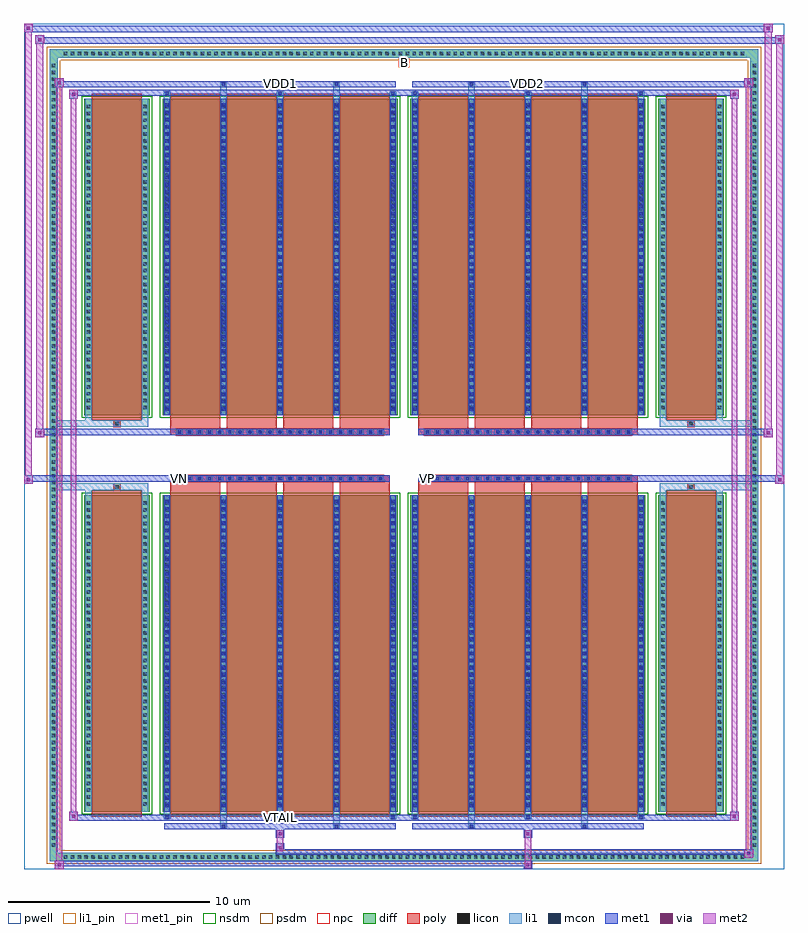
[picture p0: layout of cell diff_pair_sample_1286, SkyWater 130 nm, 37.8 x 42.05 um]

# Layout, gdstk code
import gdstk
lib = gdstk.Library(unit=1e-6, precision=5e-09)
def R(c, l, rs):  # rectangles x0, y0, x1, y1
    for r in rs: c.add(gdstk.rectangle(r[:2], r[2:], *l))
def A(c, l, x, y, w, h, nx, ny, dx, dy):  # array of equal rectangles
    R(c, l, [(x+i*dx, y+j*dy, x+i*dx+w, y+j*dy+h) for i in range(nx) for j in range(ny)])
def P(c, l, *ps):  # polygons
    for p in ps: c.add(gdstk.Polygon(p, *l))
pwell = (64, 44)
diff = (65, 20)
poly = (66, 20)
licon = (66, 44)
li1_pin = (67, 16)
li1 = (67, 20)
mcon = (67, 44)
met1_pin = (68, 16)
met1 = (68, 20)
via = (68, 44)
met2 = (69, 20)
nsdm = (93, 44)
psdm = (94, 20)
npc = (95, 20)

diff_pair_sample_1286 = lib.new_cell('diff_pair_sample_1286')
R(diff_pair_sample_1286, pwell, [(-18.9,-20.59,18.9,21.46), (-16.22,-18.78,-0.01,-0.8), (0.01,-18.78,16.22,-0.8), (-16.22,0.8,-0.01,18.78), (0.01,0.8,16.22,18.78)])
A(diff_pair_sample_1286, diff, -17.035, -20.19, 0.41, 0.41, 100, 2, 0.34, 39.97)
A(diff_pair_sample_1286, diff, -17.63, -19.585, 0.41, 0.41, 1, 115, 0, 0.34)
A(diff_pair_sample_1286, diff, 17.22, -19.585, 0.41, 0.41, 1, 115, 0, 0.34)
R(diff_pair_sample_1286, diff, [(-17.035,-20.19,17.035,-19.78), (-17.63,-19.585,-17.22,19.585), (17.22,-19.585,17.63,19.585), (-15.91,-17.735,-12.65,-1.985), (-12.01,-17.735,-0.32,-1.985), (0.32,-17.735,12.01,-1.985), (12.65,-17.735,15.91,-1.985), (-15.91,1.985,-12.65,17.735), (-12.01,1.985,-0.32,17.735), (0.32,1.985,12.01,17.735), (12.65,1.985,15.91,17.735), (-17.035,19.78,17.035,20.19)])
P(diff_pair_sample_1286, diff, [(17.63,20.19),(-17.63,20.19),(-17.63,-19.78),(-17.22,-19.78),(-17.22,19.78),(17.22,19.78),(17.22,-19.78),(-17.22,-19.78),(-17.63,-19.78),(-17.63,-20.19),(17.63,-20.19)])
A(diff_pair_sample_1286, poly, -11.62, -17.985, 2.48, 16.25, 4, 2, 2.81, 19.72)
A(diff_pair_sample_1286, poly, 0.71, -17.985, 2.48, 16.25, 4, 2, 2.81, 19.72)
A(diff_pair_sample_1286, poly, -11.62, -1.735, 2.48, 0.405, 4, 2, 2.81, 3.065)
A(diff_pair_sample_1286, poly, 0.71, -1.735, 2.48, 0.405, 4, 2, 2.81, 3.065)
A(diff_pair_sample_1286, poly, -11.33, -1.33, 0.33, 0.33, 21, 2, 0.5, 2.33)
A(diff_pair_sample_1286, poly, 1, -1.33, 0.33, 0.33, 21, 2, 0.5, 2.33)
R(diff_pair_sample_1286, poly, [(-15.52,-17.985,-13.04,-1.735), (13.04,-17.985,15.52,-1.735), (-14.445,-1.735,-14.115,-1.405), (-14.445,-1.735,-14.115,-1.405), (14.115,-1.735,14.445,-1.405), (14.115,-1.735,14.445,-1.405), (-11.62,-1.33,-0.71,-1), (0.71,-1.33,11.62,-1), (-11.62,1,-0.71,1.33), (0.71,1,11.62,1.33), (-14.445,1.405,-14.115,1.735), (-14.445,1.405,-14.115,1.735), (14.115,1.405,14.445,1.735), (14.115,1.405,14.445,1.735), (-15.52,1.735,-13.04,17.985), (13.04,1.735,15.52,17.985)])
A(diff_pair_sample_1286, licon, -16.915, -20.07, 0.17, 0.17, 100, 2, 0.34, 39.97)
A(diff_pair_sample_1286, licon, -17.51, -19.465, 0.17, 0.17, 1, 115, 0, 0.34)
A(diff_pair_sample_1286, licon, 17.34, -19.465, 0.17, 0.17, 1, 115, 0, 0.34)
A(diff_pair_sample_1286, licon, -15.77, -17.425, 0.17, 0.17, 1, 45, 0, 0.34)
A(diff_pair_sample_1286, licon, -12.96, -17.425, 0.17, 0.17, 1, 45, 0, 0.34)
A(diff_pair_sample_1286, licon, -11.87, -17.425, 0.17, 0.17, 5, 45, 2.81, 0.34)
A(diff_pair_sample_1286, licon, 0.46, -17.425, 0.17, 0.17, 5, 45, 2.81, 0.34)
A(diff_pair_sample_1286, licon, 12.79, -17.425, 0.17, 0.17, 1, 45, 0, 0.34)
A(diff_pair_sample_1286, licon, 15.6, -17.425, 0.17, 0.17, 1, 45, 0, 0.34)
A(diff_pair_sample_1286, licon, -11.25, -1.25, 0.17, 0.17, 21, 2, 0.5, 2.33)
A(diff_pair_sample_1286, licon, 1.08, -1.25, 0.17, 0.17, 21, 2, 0.5, 2.33)
A(diff_pair_sample_1286, licon, -15.77, 2.295, 0.17, 0.17, 1, 45, 0, 0.34)
A(diff_pair_sample_1286, licon, -12.96, 2.295, 0.17, 0.17, 1, 45, 0, 0.34)
A(diff_pair_sample_1286, licon, -11.87, 2.295, 0.17, 0.17, 5, 45, 2.81, 0.34)
A(diff_pair_sample_1286, licon, 0.46, 2.295, 0.17, 0.17, 5, 45, 2.81, 0.34)
A(diff_pair_sample_1286, licon, 12.79, 2.295, 0.17, 0.17, 1, 45, 0, 0.34)
A(diff_pair_sample_1286, licon, 15.6, 2.295, 0.17, 0.17, 1, 45, 0, 0.34)
R(diff_pair_sample_1286, licon, [(-14.365,-1.655,-14.195,-1.485), (14.195,-1.655,14.365,-1.485), (-14.365,1.485,-14.195,1.655), (14.195,1.485,14.365,1.655)])
R(diff_pair_sample_1286, li1_pin, [(-0.25,19.28,0.25,19.78)])
A(diff_pair_sample_1286, li1, -16.995, -20.15, 0.33, 0.33, 100, 2, 0.34, 39.97)
A(diff_pair_sample_1286, li1, -17.59, -19.545, 0.33, 0.33, 1, 115, 0, 0.34)
A(diff_pair_sample_1286, li1, 17.26, -19.545, 0.33, 0.33, 1, 115, 0, 0.34)
A(diff_pair_sample_1286, li1, -11.95, -18.11, 0.33, 0.375, 3, 2, 5.62, 35.845)
A(diff_pair_sample_1286, li1, -11.87, -18.11, 0.17, 0.17, 3, 2, 5.62, 36.05)
A(diff_pair_sample_1286, li1, 0.38, -18.11, 0.33, 0.375, 3, 2, 5.62, 35.845)
A(diff_pair_sample_1286, li1, 0.46, -18.11, 0.17, 0.17, 3, 2, 5.62, 36.05)
A(diff_pair_sample_1286, li1, -11.95, -17.735, 0.33, 15.75, 5, 2, 2.81, 19.72)
A(diff_pair_sample_1286, li1, 0.38, -17.735, 0.33, 15.75, 5, 2, 2.81, 19.72)
A(diff_pair_sample_1286, li1, -15.85, -17.505, 0.33, 0.33, 1, 45, 0, 0.34)
A(diff_pair_sample_1286, li1, -13.04, -17.505, 0.33, 0.33, 1, 45, 0, 0.34)
A(diff_pair_sample_1286, li1, -11.95, -17.505, 0.33, 0.33, 5, 45, 2.81, 0.34)
A(diff_pair_sample_1286, li1, -11.87, -17.505, 0.17, 0.17, 5, 43, 2.81, 0.36)
A(diff_pair_sample_1286, li1, -11.87, -17.505, 0.17, 15.29, 5, 2, 2.81, 19.72)
A(diff_pair_sample_1286, li1, 0.38, -17.505, 0.33, 0.33, 5, 45, 2.81, 0.34)
A(diff_pair_sample_1286, li1, 0.46, -17.505, 0.17, 0.17, 5, 43, 2.81, 0.36)
A(diff_pair_sample_1286, li1, 0.46, -17.505, 0.17, 15.29, 5, 2, 2.81, 19.72)
A(diff_pair_sample_1286, li1, 12.71, -17.505, 0.33, 0.33, 1, 45, 0, 0.34)
A(diff_pair_sample_1286, li1, 15.52, -17.505, 0.33, 0.33, 1, 45, 0, 0.34)
A(diff_pair_sample_1286, li1, -11.33, -1.33, 0.33, 0.33, 21, 2, 0.5, 2.33)
A(diff_pair_sample_1286, li1, 1, -1.33, 0.33, 0.33, 21, 2, 0.5, 2.33)
A(diff_pair_sample_1286, li1, -15.85, 2.215, 0.33, 0.33, 1, 45, 0, 0.34)
A(diff_pair_sample_1286, li1, -13.04, 2.215, 0.33, 0.33, 1, 45, 0, 0.34)
A(diff_pair_sample_1286, li1, -11.95, 2.215, 0.33, 0.33, 5, 45, 2.81, 0.34)
A(diff_pair_sample_1286, li1, -11.87, 2.215, 0.17, 0.17, 5, 43, 2.81, 0.36)
A(diff_pair_sample_1286, li1, 0.38, 2.215, 0.33, 0.33, 5, 45, 2.81, 0.34)
A(diff_pair_sample_1286, li1, 0.46, 2.215, 0.17, 0.17, 5, 43, 2.81, 0.36)
A(diff_pair_sample_1286, li1, 12.71, 2.215, 0.33, 0.33, 1, 45, 0, 0.34)
A(diff_pair_sample_1286, li1, 15.52, 2.215, 0.33, 0.33, 1, 45, 0, 0.34)
R(diff_pair_sample_1286, li1, [(-17.63,-20.19,-17.22,-19.78), (-17.63,-20.19,-17.22,-19.78), (-17.22,-20.19,17.22,-19.78), (17.22,-20.19,17.63,-19.78), (17.22,-20.19,17.63,-19.78), (-17.63,-19.78,-17.22,19.78), (17.22,-19.78,17.63,19.78), (-9.14,-18.54,-8.81,-17.735), (-9.06,-18.54,-8.89,-18.37), (-3.52,-18.54,-3.19,-17.735), (-3.44,-18.54,-3.27,-18.37), (3.19,-18.54,3.52,-17.735), (3.27,-18.54,3.44,-18.37), (8.81,-18.54,9.14,-17.735), (8.89,-18.54,9.06,-18.37), (-15.85,-17.735,-15.52,-1.985), (-13.04,-17.735,-12.71,-1.985), (12.71,-17.735,13.04,-1.985), (15.52,-17.735,15.85,-1.985), (-15.85,-1.985,-15.52,-1.405), (-13.04,-1.985,-12.71,-1.405), (12.71,-1.985,13.04,-1.405), (15.52,-1.985,15.85,-1.405), (-17.63,-1.735,-14.445,-1.405), (-15.85,-1.735,-14.445,-1.405), (-14.445,-1.735,-14.115,-1.405), (-14.115,-1.735,-12.71,-1.405), (12.71,-1.735,14.115,-1.405), (14.115,-1.735,14.445,-1.405), (14.115,-1.735,17.63,-1.405), (14.445,-1.735,15.85,-1.405), (-17.63,1.405,-14.445,1.735), (-15.85,1.405,-14.445,1.735), (-15.85,1.405,-15.52,1.985), (-14.445,1.405,-14.115,1.735), (-14.115,1.405,-12.71,1.735), (-13.04,1.405,-12.71,1.985), (12.71,1.405,14.115,1.735), (12.71,1.405,13.04,1.985), (14.115,1.405,14.445,1.735), (14.115,1.405,17.63,1.735), (14.445,1.405,15.85,1.735), (15.52,1.405,15.85,1.985), (-15.85,1.985,-15.52,17.735), (-13.04,1.985,-12.71,17.735), (12.71,1.985,13.04,17.735), (15.52,1.985,15.85,17.735), (-9.14,17.735,-8.81,18.54), (-3.52,17.735,-3.19,18.54), (3.19,17.735,3.52,18.54), (8.81,17.735,9.14,18.54), (-9.06,18.37,-8.89,18.54), (-3.44,18.37,-3.27,18.54), (3.27,18.37,3.44,18.54), (8.89,18.37,9.06,18.54), (-17.63,19.78,-17.22,20.19), (-17.63,19.78,-17.22,20.19), (-17.22,19.78,17.22,20.19), (17.22,19.78,17.63,20.19), (17.22,19.78,17.63,20.19)])
A(diff_pair_sample_1286, mcon, -11.87, -18.11, 0.17, 0.17, 3, 2, 5.62, 36.05)
A(diff_pair_sample_1286, mcon, 0.46, -18.11, 0.17, 0.17, 3, 2, 5.62, 36.05)
A(diff_pair_sample_1286, mcon, -11.87, -17.505, 0.17, 0.17, 5, 43, 2.81, 0.36)
A(diff_pair_sample_1286, mcon, 0.46, -17.505, 0.17, 0.17, 5, 43, 2.81, 0.36)
A(diff_pair_sample_1286, mcon, -11.25, -1.25, 0.17, 0.17, 21, 2, 0.5, 2.33)
A(diff_pair_sample_1286, mcon, 1.08, -1.25, 0.17, 0.17, 21, 2, 0.5, 2.33)
A(diff_pair_sample_1286, mcon, -11.87, 2.215, 0.17, 0.17, 5, 43, 2.81, 0.36)
A(diff_pair_sample_1286, mcon, 0.46, 2.215, 0.17, 0.17, 5, 43, 2.81, 0.36)
R(diff_pair_sample_1286, mcon, [(-9.06,-18.54,-8.89,-18.37), (-3.44,-18.54,-3.27,-18.37), (3.27,-18.54,3.44,-18.37), (8.89,-18.54,9.06,-18.37), (-9.06,18.37,-8.89,18.54), (-3.44,18.37,-3.27,18.54), (3.27,18.37,3.44,18.54), (8.89,18.37,9.06,18.54)])
R(diff_pair_sample_1286, met1_pin, [(-6.3,-18.15,-6.03,-17.88), (-11.3,-1.29,-11.03,-1.02), (1.03,-1.29,1.3,-1.02), (-6.3,18.33,-6.03,18.6), (6.03,18.33,6.3,18.6)])
A(diff_pair_sample_1286, met1, -11.93, -18.17, 0.29, 0.29, 3, 2, 5.62, 36.05)
A(diff_pair_sample_1286, met1, 0.4, -18.17, 0.29, 0.29, 3, 2, 5.62, 36.05)
A(diff_pair_sample_1286, met1, -11.93, -17.735, 0.29, 15.75, 5, 2, 2.81, 19.72)
A(diff_pair_sample_1286, met1, 0.4, -17.735, 0.29, 15.75, 5, 2, 2.81, 19.72)
A(diff_pair_sample_1286, met1, -11.93, -17.565, 0.29, 0.29, 5, 43, 2.81, 0.36)
A(diff_pair_sample_1286, met1, 0.4, -17.565, 0.29, 0.29, 5, 43, 2.81, 0.36)
A(diff_pair_sample_1286, met1, -11.31, -1.31, 0.29, 0.29, 21, 2, 0.5, 2.33)
A(diff_pair_sample_1286, met1, 1.02, -1.31, 0.29, 0.29, 21, 2, 0.5, 2.33)
A(diff_pair_sample_1286, met1, -11.93, 2.155, 0.29, 0.29, 5, 43, 2.81, 0.36)
A(diff_pair_sample_1286, met1, 0.4, 2.155, 0.29, 0.29, 5, 43, 2.81, 0.36)
R(diff_pair_sample_1286, met1, [(-17.36,-20.59,-16.93,-20.16), (5.95,-20.59,6.38,-20.16), (-17.36,-20.45,6.38,-20.16), (16.93,-20.02,17.36,-19.59), (-6.38,-19.88,17.36,-19.59), (-6.38,-19.74,-5.95,-19.31), (-6.38,-19.03,-5.95,-18.6), (5.95,-19.03,6.38,-18.6), (-11.93,-18.6,-0.4,-18.31), (-9.12,-18.6,-8.83,-18.31), (-3.5,-18.6,-3.21,-18.31), (0.4,-18.6,11.93,-18.31), (3.21,-18.6,3.5,-18.31), (8.83,-18.6,9.12,-18.31), (-16.65,-18.17,-16.22,-17.74), (-16.65,-18.17,-11.93,-17.88), (-11.93,-18.17,-0.4,-17.88), (-0.4,-18.17,0.4,-17.88), (0.4,-18.17,11.93,-17.88), (11.93,-18.17,16.65,-17.88), (16.22,-18.17,16.65,-17.74), (-18.9,-1.43,-18.47,-1), (18.47,-1.43,18.9,-1), (-18.9,-1.33,-0.71,-1), (-11.62,-1.33,-0.71,-1), (0.71,-1.33,11.62,-1), (0.71,-1.33,18.9,-1), (-18.33,0.9,-17.9,1.33), (17.9,0.9,18.33,1.33), (-18.33,1,-11.62,1.33), (-11.62,1,-0.71,1.33), (0.71,1,11.62,1.33), (11.62,1,18.33,1.33), (-16.65,17.74,-16.22,18.17), (16.22,17.74,16.65,18.17), (-16.65,17.88,-11.93,18.17), (-11.93,17.88,-0.4,18.17), (-0.4,17.88,0.4,18.17), (0.4,17.88,11.93,18.17), (11.93,17.88,16.65,18.17), (-17.36,18.31,-16.93,18.74), (-17.36,18.31,-11.93,18.6), (-11.93,18.31,-0.4,18.6), (-9.12,18.31,-8.83,18.6), (-3.5,18.31,-3.21,18.6), (0.4,18.31,11.93,18.6), (3.21,18.31,3.5,18.6), (8.83,18.31,9.12,18.6), (11.93,18.31,17.36,18.6), (16.93,18.31,17.36,18.74), (-18.33,20.46,-17.9,20.89), (-18.33,20.46,-16.22,20.79), (-16.22,20.46,16.22,20.79), (16.22,20.46,18.9,20.79), (18.47,20.46,18.9,20.89), (-18.9,21.03,-18.47,21.46), (-18.9,21.03,-16.22,21.36), (-16.22,21.03,16.22,21.36), (16.22,21.03,18.33,21.36), (17.9,21.03,18.33,21.46)])
R(diff_pair_sample_1286, via, [(-17.22,-20.45,-17.07,-20.3), (6.09,-20.45,6.24,-20.3), (17.07,-19.88,17.22,-19.73), (-6.24,-19.6,-6.09,-19.45), (-6.24,-18.89,-6.09,-18.74), (6.09,-18.89,6.24,-18.74), (-16.51,-18.03,-16.36,-17.88), (16.36,-18.03,16.51,-17.88), (-18.76,-1.29,-18.61,-1.14), (18.61,-1.29,18.76,-1.14), (-18.19,1.04,-18.04,1.19), (18.04,1.04,18.19,1.19), (-16.51,17.88,-16.36,18.03), (16.36,17.88,16.51,18.03), (-17.22,18.45,-17.07,18.6), (17.07,18.45,17.22,18.6), (-18.19,20.6,-18.04,20.75), (18.61,20.6,18.76,20.75), (-18.76,21.17,-18.61,21.32), (18.04,21.17,18.19,21.32)])
R(diff_pair_sample_1286, met2, [(-17.36,-20.59,-16.93,-20.16), (-17.29,-20.59,-17,18.74), (-17,-20.59,-16.93,-20.16), (-17.31,-20.54,-16.98,-20.21), (6,-20.54,6.33,-20.21), (6,-20.21,6.33,-18.98), (16.93,-20.02,17.36,-19.59), (17,-20.02,17.29,18.74), (17.29,-20.02,17.36,-19.59), (16.98,-19.97,17.31,-19.64), (-6.33,-19.69,-6,-19.36), (-6.33,-19.36,-6,-18.98), (-6.33,-18.98,-6,-18.65), (6,-18.98,6.33,-18.65), (-16.65,-18.17,-16.22,-17.74), (-16.58,-18.17,-16.29,18.17), (-16.29,-18.17,-16.22,-17.74), (16.22,-18.17,16.65,-17.74), (16.29,-18.17,16.58,18.17), (16.58,-18.17,16.65,-17.74), (-16.6,-18.12,-16.27,-17.79), (16.27,-18.12,16.6,-17.79), (-18.9,-1.43,-18.47,-1), (-18.85,-1.43,-18.52,21.46), (-18.52,-1.43,-18.47,-1), (18.47,-1.43,18.9,-1), (18.52,-1.43,18.85,20.89), (18.85,-1.43,18.9,-1), (-18.85,-1.38,-18.52,-1.05), (18.52,-1.38,18.85,-1.05), (-18.33,0.9,-17.9,1.33), (-18.28,0.9,-17.95,20.89), (-17.95,0.9,-17.9,1.33), (17.9,0.9,18.33,1.33), (17.95,0.9,18.28,21.46), (18.28,0.9,18.33,1.33), (-18.28,0.95,-17.95,1.28), (17.95,0.95,18.28,1.28), (-16.65,17.74,-16.22,18.17), (-16.29,17.74,-16.22,18.17), (16.22,17.74,16.65,18.17), (16.58,17.74,16.65,18.17), (-16.6,17.79,-16.27,18.12), (16.27,17.79,16.6,18.12), (-17.36,18.31,-16.93,18.74), (-17,18.31,-16.93,18.74), (16.93,18.31,17.36,18.74), (17.29,18.31,17.36,18.74), (-17.31,18.36,-16.98,18.69), (16.98,18.36,17.31,18.69), (-18.33,20.46,-17.9,20.89), (-17.95,20.46,-17.9,20.89), (18.47,20.46,18.9,20.89), (18.85,20.46,18.9,20.89), (-18.28,20.51,-17.95,20.84), (18.52,20.51,18.85,20.84), (-18.9,21.03,-18.47,21.46), (-18.52,21.03,-18.47,21.46), (17.9,21.03,18.33,21.46), (18.28,21.03,18.33,21.46), (-18.85,21.08,-18.52,21.41), (17.95,21.08,18.28,21.41)])
R(diff_pair_sample_1286, nsdm, [(-16.04,-17.865,-12.52,-1.855), (-12.14,-17.865,-0.19,-1.855), (0.19,-17.865,12.14,-1.855), (12.52,-17.865,16.04,-1.855), (-16.04,1.855,-12.52,17.865), (-12.14,1.855,-0.19,17.865), (0.19,1.855,12.14,17.865), (12.52,1.855,16.04,17.865)])
P(diff_pair_sample_1286, psdm, [(17.76,20.32),(-17.76,20.32),(-17.76,-19.65),(-17.09,-19.65),(-17.09,19.65),(17.09,19.65),(17.09,-19.65),(-17.09,-19.65),(-17.76,-19.65),(-17.76,-20.32),(17.76,-20.32)])
A(diff_pair_sample_1286, npc, -11.35, -1.35, 0.37, 0.37, 21, 2, 0.5, 2.33)
A(diff_pair_sample_1286, npc, 0.98, -1.35, 0.37, 0.37, 21, 2, 0.5, 2.33)
R(diff_pair_sample_1286, npc, [(-14.465,-1.755,-14.095,-1.385), (14.095,-1.755,14.465,-1.385), (-11.35,-1.35,-10.48,-0.98), (-11.35,-1.35,-10.48,-0.98), (-10.85,-1.35,-9.98,-0.98), (-10.85,-1.35,-9.98,-0.98), (-10.35,-1.35,-9.48,-0.98), (-10.35,-1.35,-9.48,-0.98), (-9.85,-1.35,-8.98,-0.98), (-9.85,-1.35,-8.98,-0.98), (-9.35,-1.35,-8.48,-0.98), (-9.35,-1.35,-8.48,-0.98), (-8.85,-1.35,-7.98,-0.98), (-8.85,-1.35,-7.98,-0.98), (-8.35,-1.35,-7.48,-0.98), (-8.35,-1.35,-7.48,-0.98), (-7.85,-1.35,-6.98,-0.98), (-7.85,-1.35,-6.98,-0.98), (-7.35,-1.35,-6.48,-0.98), (-7.35,-1.35,-6.48,-0.98), (-6.85,-1.35,-5.98,-0.98), (-6.85,-1.35,-5.98,-0.98), (-6.35,-1.35,-5.48,-0.98), (-6.35,-1.35,-5.48,-0.98), (-5.85,-1.35,-4.98,-0.98), (-5.85,-1.35,-4.98,-0.98), (-5.35,-1.35,-4.48,-0.98), (-5.35,-1.35,-4.48,-0.98), (-4.85,-1.35,-3.98,-0.98), (-4.85,-1.35,-3.98,-0.98), (-4.35,-1.35,-3.48,-0.98), (-4.35,-1.35,-3.48,-0.98), (-3.85,-1.35,-2.98,-0.98), (-3.85,-1.35,-2.98,-0.98), (-3.35,-1.35,-2.48,-0.98), (-3.35,-1.35,-2.48,-0.98), (-2.85,-1.35,-1.98,-0.98), (-2.85,-1.35,-1.98,-0.98), (-2.35,-1.35,-1.48,-0.98), (-2.35,-1.35,-1.48,-0.98), (-1.85,-1.35,-0.98,-0.98), (-1.85,-1.35,-0.98,-0.98), (0.98,-1.35,1.85,-0.98), (0.98,-1.35,1.85,-0.98), (1.48,-1.35,2.35,-0.98), (1.48,-1.35,2.35,-0.98), (1.98,-1.35,2.85,-0.98), (1.98,-1.35,2.85,-0.98), (2.48,-1.35,3.35,-0.98), (2.48,-1.35,3.35,-0.98), (2.98,-1.35,3.85,-0.98), (2.98,-1.35,3.85,-0.98), (3.48,-1.35,4.35,-0.98), (3.48,-1.35,4.35,-0.98), (3.98,-1.35,4.85,-0.98), (3.98,-1.35,4.85,-0.98), (4.48,-1.35,5.35,-0.98), (4.48,-1.35,5.35,-0.98), (4.98,-1.35,5.85,-0.98), (4.98,-1.35,5.85,-0.98), (5.48,-1.35,6.35,-0.98), (5.48,-1.35,6.35,-0.98), (5.98,-1.35,6.85,-0.98), (5.98,-1.35,6.85,-0.98), (6.48,-1.35,7.35,-0.98), (6.48,-1.35,7.35,-0.98), (6.98,-1.35,7.85,-0.98), (6.98,-1.35,7.85,-0.98), (7.48,-1.35,8.35,-0.98), (7.48,-1.35,8.35,-0.98), (7.98,-1.35,8.85,-0.98), (7.98,-1.35,8.85,-0.98), (8.48,-1.35,9.35,-0.98), (8.48,-1.35,9.35,-0.98), (8.98,-1.35,9.85,-0.98), (8.98,-1.35,9.85,-0.98), (9.48,-1.35,10.35,-0.98), (9.48,-1.35,10.35,-0.98), (9.98,-1.35,10.85,-0.98), (9.98,-1.35,10.85,-0.98), (10.48,-1.35,11.35,-0.98), (10.48,-1.35,11.35,-0.98), (-11.35,0.98,-10.48,1.35), (-11.35,0.98,-10.48,1.35), (-10.85,0.98,-9.98,1.35), (-10.85,0.98,-9.98,1.35), (-10.35,0.98,-9.48,1.35), (-10.35,0.98,-9.48,1.35), (-9.85,0.98,-8.98,1.35), (-9.85,0.98,-8.98,1.35), (-9.35,0.98,-8.48,1.35), (-9.35,0.98,-8.48,1.35), (-8.85,0.98,-7.98,1.35), (-8.85,0.98,-7.98,1.35), (-8.35,0.98,-7.48,1.35), (-8.35,0.98,-7.48,1.35), (-7.85,0.98,-6.98,1.35), (-7.85,0.98,-6.98,1.35), (-7.35,0.98,-6.48,1.35), (-7.35,0.98,-6.48,1.35), (-6.85,0.98,-5.98,1.35), (-6.85,0.98,-5.98,1.35), (-6.35,0.98,-5.48,1.35), (-6.35,0.98,-5.48,1.35), (-5.85,0.98,-4.98,1.35), (-5.85,0.98,-4.98,1.35), (-5.35,0.98,-4.48,1.35), (-5.35,0.98,-4.48,1.35), (-4.85,0.98,-3.98,1.35), (-4.85,0.98,-3.98,1.35), (-4.35,0.98,-3.48,1.35), (-4.35,0.98,-3.48,1.35), (-3.85,0.98,-2.98,1.35), (-3.85,0.98,-2.98,1.35), (-3.35,0.98,-2.48,1.35), (-3.35,0.98,-2.48,1.35), (-2.85,0.98,-1.98,1.35), (-2.85,0.98,-1.98,1.35), (-2.35,0.98,-1.48,1.35), (-2.35,0.98,-1.48,1.35), (-1.85,0.98,-0.98,1.35), (-1.85,0.98,-0.98,1.35), (0.98,0.98,1.85,1.35), (0.98,0.98,1.85,1.35), (1.48,0.98,2.35,1.35), (1.48,0.98,2.35,1.35), (1.98,0.98,2.85,1.35), (1.98,0.98,2.85,1.35), (2.48,0.98,3.35,1.35), (2.48,0.98,3.35,1.35), (2.98,0.98,3.85,1.35), (2.98,0.98,3.85,1.35), (3.48,0.98,4.35,1.35), (3.48,0.98,4.35,1.35), (3.98,0.98,4.85,1.35), (3.98,0.98,4.85,1.35), (4.48,0.98,5.35,1.35), (4.48,0.98,5.35,1.35), (4.98,0.98,5.85,1.35), (4.98,0.98,5.85,1.35), (5.48,0.98,6.35,1.35), (5.48,0.98,6.35,1.35), (5.98,0.98,6.85,1.35), (5.98,0.98,6.85,1.35), (6.48,0.98,7.35,1.35), (6.48,0.98,7.35,1.35), (6.98,0.98,7.85,1.35), (6.98,0.98,7.85,1.35), (7.48,0.98,8.35,1.35), (7.48,0.98,8.35,1.35), (7.98,0.98,8.85,1.35), (7.98,0.98,8.85,1.35), (8.48,0.98,9.35,1.35), (8.48,0.98,9.35,1.35), (8.98,0.98,9.85,1.35), (8.98,0.98,9.85,1.35), (9.48,0.98,10.35,1.35), (9.48,0.98,10.35,1.35), (9.98,0.98,10.85,1.35), (9.98,0.98,10.85,1.35), (10.48,0.98,11.35,1.35), (10.48,0.98,11.35,1.35), (-14.465,1.385,-14.095,1.755), (14.095,1.385,14.465,1.755)])
diff_pair_sample_1286.add(gdstk.Label('VTAIL', (-6.165,-18.015), layer=68, texttype=5))
diff_pair_sample_1286.add(gdstk.Label('VN', (-11.165,-1.155), layer=68, texttype=5))
diff_pair_sample_1286.add(gdstk.Label('VP', (1.165,-1.155), layer=68, texttype=5))
diff_pair_sample_1286.add(gdstk.Label('B', (0,19.53), layer=67, texttype=5))
diff_pair_sample_1286.add(gdstk.Label('VDD2', (6.165,18.465), layer=68, texttype=5))
diff_pair_sample_1286.add(gdstk.Label('VDD1', (-6.165,18.465), layer=68, texttype=5))

lib.write_gds('diff_pair_sample_1286.gds')
